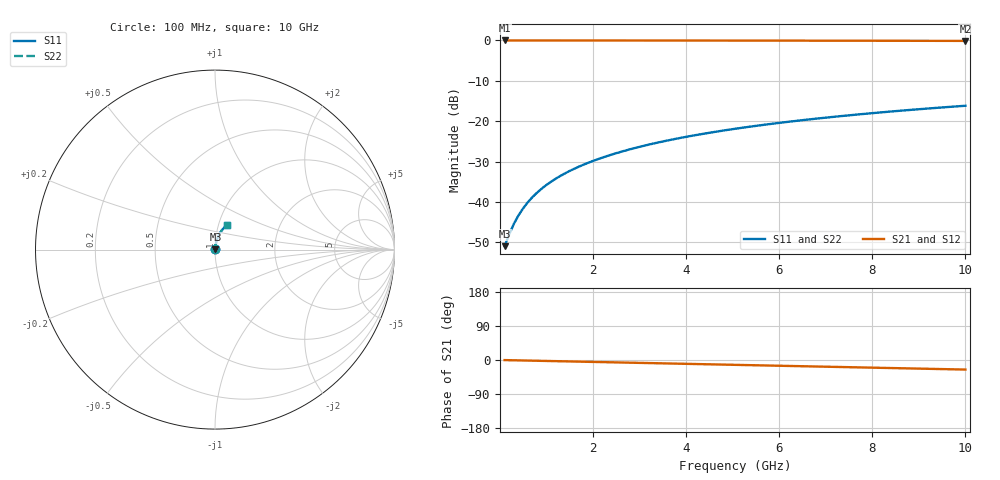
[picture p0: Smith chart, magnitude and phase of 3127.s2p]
# Hz S RI R 50.00
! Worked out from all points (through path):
!   100 points, 100 MHz to 10 GHz, reference 50 ohm
!   highest |S21| = -0.02 dB at 100 MHz (marker M1); lowest = -0.1 dB at 10 GHz (marker M2)
!   group delay of S21, straight-line fit = 7.01 ps
!   lowest |S11| = -50.9 dB at 100 MHz (marker M3), VSWR 1.01, Z = 50.2 + j0.16 ohm
!   |S11| at or under -10 dB: start of sweep to end of sweep
!   |S22| runs from -50.9 to -16.2 dB; largest |S21 - S12| = 0
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1e8  0.00234 0.0016  0.9976 -0.00441  0.9976 -0.00441  0.00234 0.0016
2e8  0.00238 0.00319  0.9976 -0.00881  0.9976 -0.00881  0.00238 0.00319
3e8  0.00242 0.00479  0.9975 -0.0132  0.9975 -0.0132  0.00242 0.00479
4e8  0.00248 0.00639  0.9974 -0.0176  0.9974 -0.0176  0.00248 0.00639
5e8  0.00255 0.00798  0.9973 -0.022  0.9973 -0.022  0.00255 0.00798
6e8  0.00264 0.00958  0.9972 -0.0264  0.9972 -0.0264  0.00264 0.00958
7e8  0.00273 0.0112  0.9971 -0.0308  0.9971 -0.0308  0.00273 0.0112
9e8  0.00297 0.0144  0.9967 -0.0396  0.9967 -0.0396  0.00297 0.0144
1e9  0.0031 0.0159  0.9965 -0.044  0.9965 -0.044  0.0031 0.0159
1.2e9  0.00342 0.0191  0.996 -0.0528  0.996 -0.0528  0.00342 0.0191
1.5e9  0.004 0.0239  0.9951 -0.066  0.9951 -0.066  0.004 0.0239
1.8e9  0.00471 0.0286  0.994 -0.0792  0.994 -0.0792  0.00471 0.0286
2.1e9  0.00553 0.0333  0.9927 -0.0923  0.9927 -0.0923  0.00553 0.0333
2.5e9  0.00683 0.0396  0.9906 -0.1098  0.9906 -0.1098  0.00683 0.0396
2.9e9  0.00835 0.0458  0.9882 -0.1273  0.9882 -0.1273  0.00835 0.0458
3.4e9  0.0106 0.0534  0.9848 -0.149  0.9848 -0.149  0.0106 0.0534
4.2e9  0.0148 0.0655  0.9781 -0.1835  0.9781 -0.1835  0.0148 0.0655
5.1e9  0.0205 0.0786  0.969 -0.222  0.969 -0.222  0.0205 0.0786
5.9e9  0.0265 0.0898  0.9595 -0.2557  0.9595 -0.2557  0.0265 0.0898
6.7e9  0.0332 0.1006  0.9487 -0.289  0.9487 -0.289  0.0332 0.1006
8.4e9  0.0499 0.1218  0.9216 -0.3579  0.9216 -0.3579  0.0499 0.1218
1e10  0.0683 0.1393  0.8911 -0.4201  0.8911 -0.4201  0.0683 0.1393
